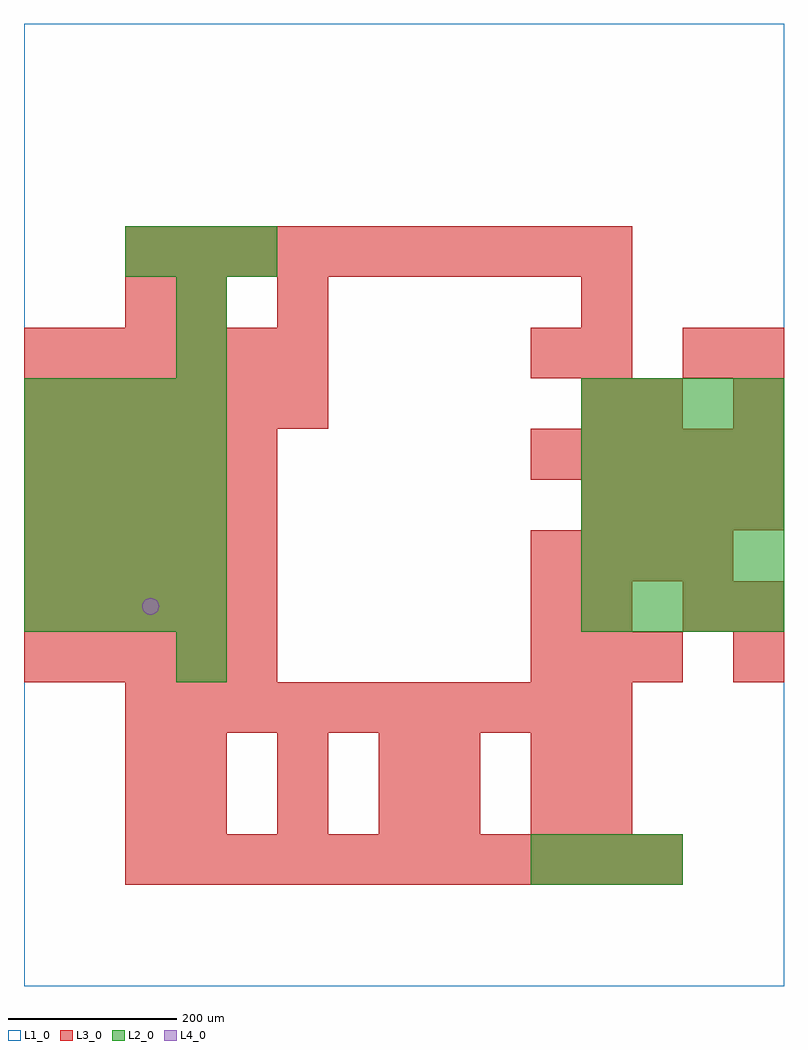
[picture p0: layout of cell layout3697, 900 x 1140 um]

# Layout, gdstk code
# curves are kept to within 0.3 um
import gdstk
lib = gdstk.Library(unit=1e-6, precision=1e-09)
def R(c, l, rs):  # rectangles x0, y0, x1, y1
    for r in rs: c.add(gdstk.rectangle(r[:2], r[2:], *l))
def A(c, l, x, y, w, h, nx, ny, dx, dy):  # array of equal rectangles
    R(c, l, [(x+i*dx, y+j*dy, x+i*dx+w, y+j*dy+h) for i in range(nx) for j in range(ny)])
def P(c, l, *ps):  # polygons
    for p in ps: c.add(gdstk.Polygon(p, *l))
L1_0 = (1, 0)
L2_0 = (2, 0)
L3_0 = (3, 0)
L4_0 = (4, 0)

layout3697 = lib.new_cell('layout3697')
R(layout3697, L1_0, [(0,0,900,1140)])
A(layout3697, L2_0, 600, 120, 60, 60, 3, 1, 60, 0)
A(layout3697, L2_0, 0, 420, 60, 60, 4, 5, 60, 60)
A(layout3697, L2_0, 660, 420, 60, 60, 4, 5, 60, 60)
A(layout3697, L2_0, 120, 840, 60, 60, 3, 1, 60, 0)
R(layout3697, L2_0, [(180,360,240,420), (180,720,240,780), (180,780,240,840)])
A(layout3697, L3_0, 120, 120, 60, 60, 11, 1, 60, 0)
A(layout3697, L3_0, 180, 180, 60, 60, 3, 2, 120, 60)
A(layout3697, L3_0, 120, 300, 60, 60, 10, 2, 60, 540)
A(layout3697, L3_0, 0, 360, 60, 60, 5, 5, 60, 60)
A(layout3697, L3_0, 600, 360, 60, 60, 3, 1, 60, 0)
A(layout3697, L3_0, 600, 480, 60, 60, 4, 1, 60, 0)
A(layout3697, L3_0, 660, 540, 60, 60, 4, 1, 60, 0)
A(layout3697, L3_0, 600, 600, 60, 60, 5, 1, 60, 0)
A(layout3697, L3_0, 0, 660, 60, 60, 6, 2, 60, 60)
A(layout3697, L3_0, 660, 660, 60, 60, 1, 3, 0, 60)
R(layout3697, L3_0, [(120,180,180,240), (480,180,540,240), (600,180,660,240), (660,180,720,240), (120,240,180,300), (480,240,540,300), (600,240,660,300), (660,240,720,300), (840,360,900,420), (600,420,660,480), (660,420,720,480), (780,420,840,480), (840,420,900,480), (720,660,780,720), (840,660,900,720), (600,720,660,780), (780,720,840,780), (840,720,900,780), (120,780,180,840), (180,780,240,840), (300,780,360,840)])
P(layout3697, L4_0, [(160,450),(159.239,453.827),(157.071,457.071),(153.827,459.239),(150,460),(146.173,459.239),(142.929,457.071),(140.761,453.827),(140,450),(140.761,446.173),(142.929,442.929),(146.173,440.761),(150,440),(153.827,440.761),(157.071,442.929),(159.239,446.173)])

lib.write_gds('layout3697.gds')
